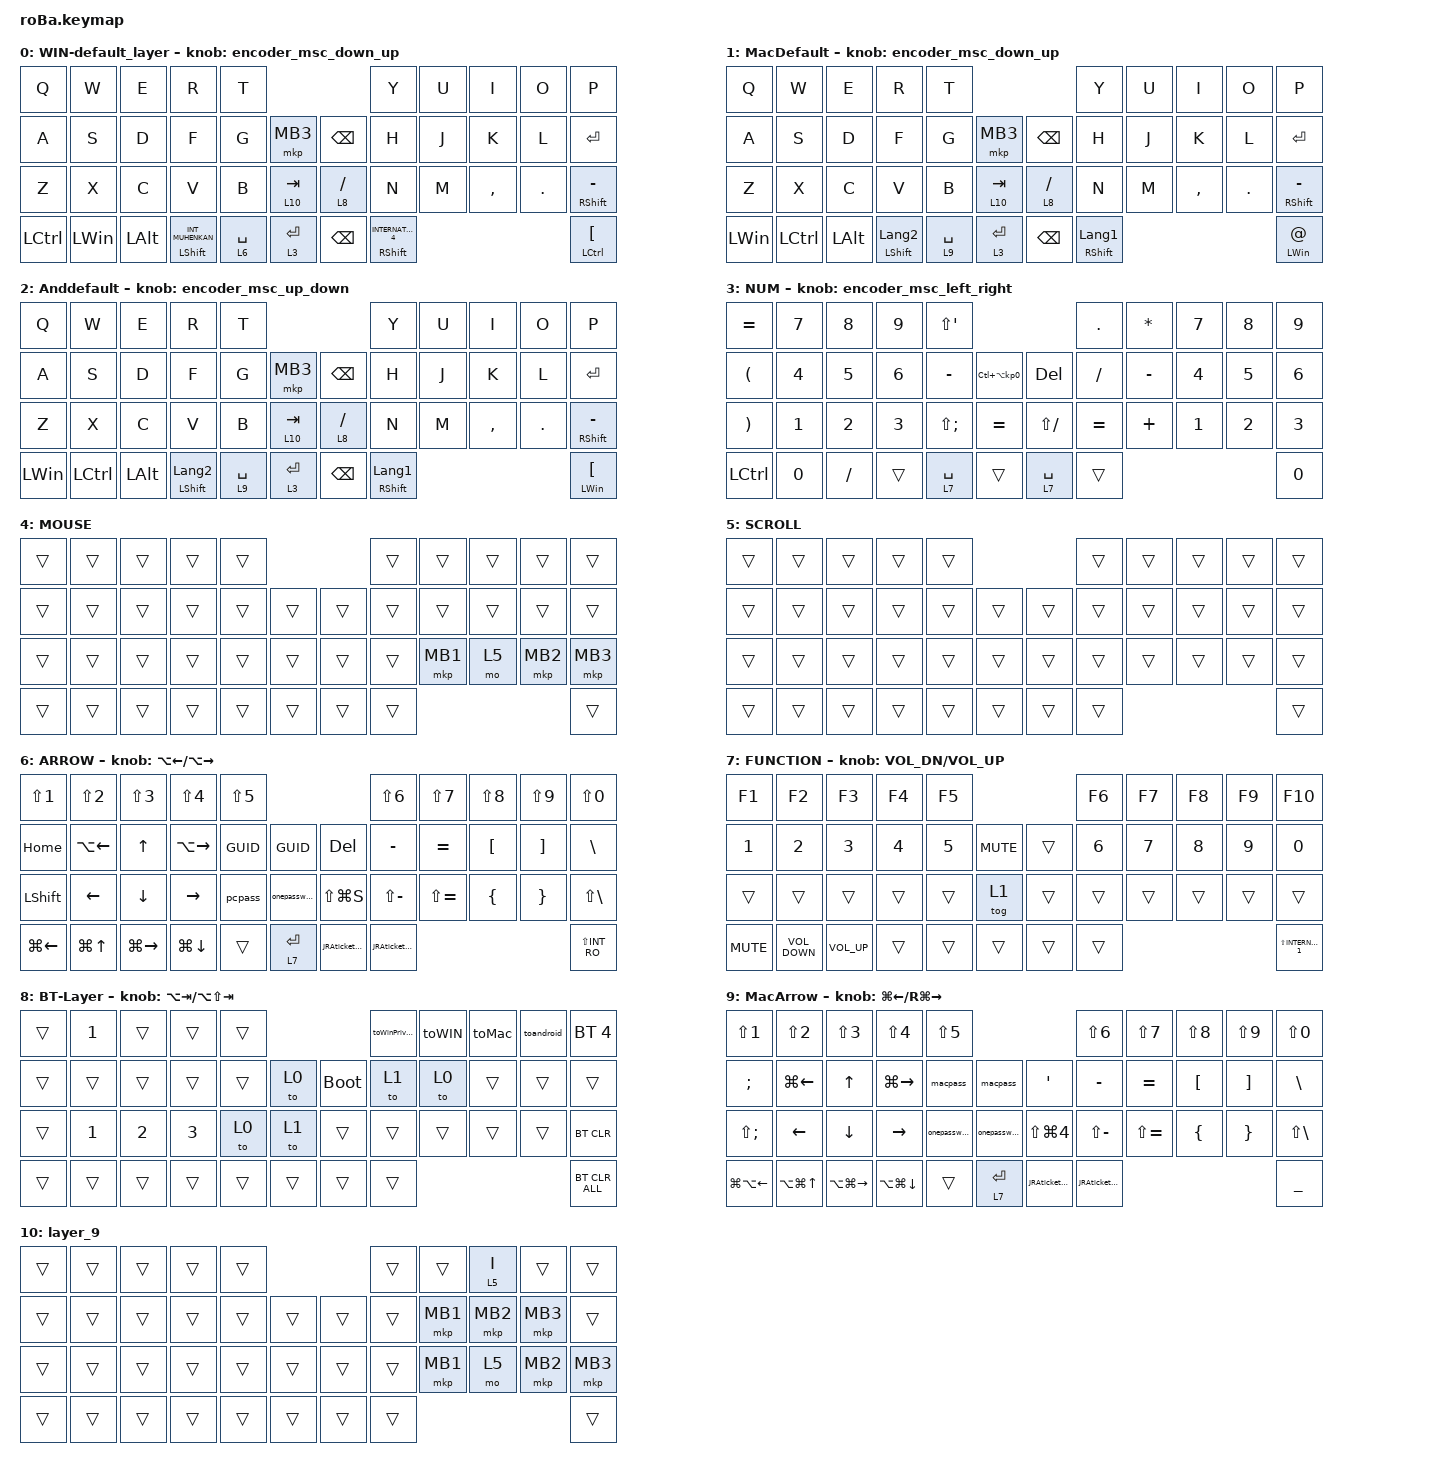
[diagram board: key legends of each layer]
#include <input/processors.dtsi>
#include <behaviors.dtsi>
#include <dt-bindings/zmk/bt.h>
#include <dt-bindings/zmk/keys.h>
#include <dt-bindings/zmk/pointing.h>

#define ZMK_POINTING_DEFAULT_SCRL_VAL 80

&trackball_listener { input-processors = <&zip_temp_layer 4 10000>; };

&mkp_input_listener { input-processors = <&zip_temp_layer 4 10000>; };

#define MOUSE 4
#define SCROLL 5
#define NUM 6

&mt {
    flavor = "balanced";
    quick-tap-ms = <0>;
};

&trackball {
    scroll-layers = <5>;

    arrows {
        layers = < 6 9>;
        bindings =
            <&kp RIGHT_ARROW>,
            <&kp LEFT_ARROW>,
            <&kp UP_ARROW>,
            <&kp DOWN_ARROW>;

        tick = <10>;
        wait-ms = <5>;
        tap-ms = <5>;
    };
};

/ {
    combos {
        compatible = "zmk,combos";

        esc {
            bindings = <&kp ESCAPE>;
            key-positions = <0 10>;
        };

        shift_tab {
            bindings = <&kp LS(TAB)>;
            key-positions = <26 27>;
        };

        double_quotation {
            bindings = <&kp SQT>;
            key-positions = <20 21>;
        };

        eq {
            bindings = <&kp EQUAL>;
            key-positions = <29 28>;
        };

        del {
            bindings = <&kp DEL>;
            key-positions = <16 17>;
        };

        tab {
            bindings = <&kp TAB>;
            key-positions = <0 1>;
        };

        backspace {
            bindings = <&kp BACKSPACE>;
            key-positions = <9 8>;
        };

        scroll {
            bindings = <&mo 5>;
            key-positions = <31 27>;
        };

        del2 {
            bindings = <&kp DELETE>;
            key-positions = <9 8 7>;
        };

        Lshift {
            bindings = <&kp LEFT_SHIFT>;
            key-positions = <22 23>;
        };

        Rshift {
            bindings = <&kp RIGHT_SHIFT>;
            key-positions = <33 32>;
        };

        kakuninnyou {
            bindings = <&trans>;
            key-positions = <34 30 31 32 33 42>;
        };

        ShiftTAB {
            bindings = <&kp LS(TAB)>;
            key-positions = <0 1 2>;
        };
    };

    macros {
        GUID: GUID {
            compatible = "zmk,behavior-macro";
            #binding-cells = <0>;
            bindings = <&kp S &kp H &kp U &kp N &kp DOT &kp S &kp DOT &kp O &kp K &kp U &kp N &kp O &kp LEFT_BRACKET &kp P &kp W &kp C &kp DOT &kp C &kp O &kp M>;
            label = "GUID";
        };

        pcpass: pcpass {
            compatible = "zmk,behavior-macro";
            #binding-cells = <0>;
            bindings = <&kp LS(I) &kp L &kp I &kp V &kp E &kp I &kp N &kp LS(J) &kp U &kp N &kp E &kp N2 &kp N4 &kp N1 &kp N9 &kp N8 &kp N7 &kp EXCL>;
            label = "PCPASS";
        };

        macpass: macpass {
            compatible = "zmk,behavior-macro";
            #binding-cells = <0>;
            bindings = <&kp A &kp L &kp T &kp E &kp R &kp N &kp A &kp T &kp I &kp V &kp E>;
            label = "MACPASS";
        };

        onepassword: onepassword {
            compatible = "zmk,behavior-macro";
            #binding-cells = <0>;
            bindings = <&kp LS(I) &kp L &kp I &kp V &kp E &kp I &kp N &kp LS(J) &kp A &kp P &kp A &kp N &kp N7 &kp EXCL>;
            label = "ONEPASSWORD";
        };

        toMac: toMacStudio {
            compatible = "zmk,behavior-macro";
            #binding-cells = <0>;
            bindings = <&bt BT_SEL 2>, <&macro_wait_time 200>, <&to 1>;

            label = "TOMACSTUDIO";
        };

        toiPad13: toiPad13 {
            compatible = "zmk,behavior-macro";
            #binding-cells = <0>;
            bindings = <&bt BT_SEL 4>, <&macro_wait_time 200>, <&to 1>;

            label = "TOIPAD13";
        };

        toiPad11: toiPad11 {
            compatible = "zmk,behavior-macro";
            #binding-cells = <0>;
            bindings = <&none>;
            label = "TOIPAD11";
        };

        toiPhone: toiPhone {
            compatible = "zmk,behavior-macro";
            #binding-cells = <0>;
            bindings = <&none>;
            label = "TOIPHONE";
        };

        JRAticketSmartsheet2: JTAticketSmartsheet {
            compatible = "zmk,behavior-macro";
            #binding-cells = <0>;
            bindings = <&kp TAB &kp LEFT_SHIFT &kp ENTER &kp TAB &kp TAB &kp ENTER>;
            label = "JTATICKETSMARTSHEET";
        };

        JRAticketSmartsheet1: JRAticketSmartsheet1 {
            compatible = "zmk,behavior-macro";
            #binding-cells = <0>;
            bindings = <&kp TAB &kp LEFT_SHIFT &kp ENTER &kp TAB &kp ENTER>;
            label = "JRATICKETSMARTSHEET1";
        };

        exit_AML: exit_AML {
            compatible = "zmk,behavior-macro";
            wait-ms = <0>;
            tap-ms = <0>;
            #binding-cells = <0>;
            bindings = <&tog_off 4>;
            label = "exit_AML";
        };

        kp_exit_AML: kp_exit_AML {
            compatible = "zmk,behavior-macro-one-param";
            wait-ms = <0>;
            tap-ms = <0>;
            #binding-cells = <1>;
            bindings = <&macro_param_1to1 &kp MACRO_PLACEHOLDER &exit_AML>;
            label = "KP_exit_AML";
        };

        ke_exit_AML_tr: ke_exit_AML_tr {
            compatible = "zmk,behavior-macro";
            wait-ms = <0>;
            tap-ms = <0>;
            #binding-cells = <0>;
            bindings = <&trans &exit_AML>;
            label = "KE_EXIT_AML_TR";
        };

        toWIN: toWIN {
            compatible = "zmk,behavior-macro";
            #binding-cells = <0>;
            bindings = <&bt BT_SEL 1>, <&macro_wait_time 200>, <&to 0>;

            label = "TOWIN";
        };

        toiPadmini: toiPadmini {
            compatible = "zmk,behavior-macro";
            #binding-cells = <0>;
            bindings = <&bt BT_SEL 3>, <&macro_wait_time 200>, <&to 1>;

            label = "TOIPADMINI";
        };

        toandroid: toandroid {
            compatible = "zmk,behavior-macro";
            #binding-cells = <0>;
            bindings = <&bt BT_SEL 3>, <&macro_wait_time 200>, <&to 2>;

            label = "TOANDROID";
        };

        toWinPrivate: toWinPrivate {
            compatible = "zmk,behavior-macro";
            #binding-cells = <0>;
            bindings = <&bt BT_SEL 0>, <&macro_wait_time 200>, <&to 0>;

            label = "TOWINPRIVATE";
        };
    };

    behaviors {
        lt_to_layer_0: lt_to_layer_0 {
            compatible = "zmk,behavior-hold-tap";
            label = "LAYER_TAP_TO_0";
            bindings = <&mo>, <&toMac>;

            #binding-cells = <2>;
            tapping-term-ms = <200>;
        };

        Mouse_Rotate_encoder: Mouse_Rotate_encoder {
            compatible = "zmk,behavior-sensor-rotate";
            label = "MOUSE_ROTATE_ENCODER";
            #sensor-binding-cells = <0>;
            bindings = <&msc SCRL_DOWN>, <&msc SCRL_UP>;
        };

        encoder_msc_down_up: encoder_msc_down_up {
            compatible = "zmk,behavior-sensor-rotate";
            label = "ENCODER_MSC_DOWN_UP";
            #sensor-binding-cells = <0>;
            bindings = <&msc SCRL_DOWN>, <&msc SCRL_UP>;

            tap-ms = <20>;
        };

        encoder_msc_up_down: encoder_msc_up_down {
            compatible = "zmk,behavior-sensor-rotate";
            label = "ENCODER_MSC_UP_DOWN";
            #sensor-binding-cells = <0>;
            bindings = <&msc SCRL_UP>, <&msc SCRL_DOWN>;

            tap-ms = <20>;
        };

        encoder_msc_left_right: encoder_msc_left_right {
            compatible = "zmk,behavior-sensor-rotate";
            label = "ENCODER_MSC_LEFT_RIGHT";
            #sensor-binding-cells = <0>;
            bindings = <&msc SCRL_LEFT>, <&msc SCRL_RIGHT>;

            tap-ms = <20>;
        };

        tog_off: toggle_layer_off {
            compatible = "zmk,behavior-toggle-layer";
            #binding-cells = <1>;
            display-name = "Toggle Layer Off";
            toggle-mode = "off";
        };

        mt_exit_AML_on_tap: mt_exit_AML_on_tap {
            compatible = "zmk,behavior-hold-tap";
            label = "MT_exit_AML_ON_TAP";
            bindings = <&kp>, <&kp_exit_AML>;

            #binding-cells = <2>;
            tapping-term-ms = <200>;
            flavor = "balanced";
            quick-tap-ms = <200>;
        };

        mt_exit_AML_on_tap_tr: mt_exit_AML_on_tap_tr {
            compatible = "zmk,behavior-hold-tap";
            label = "MT_exit_AML_ON_TAP_tr";
            bindings = <&kp>, <&ke_exit_AML_tr>;

            #binding-cells = <2>;
            tapping-term-ms = <200>;
            flavor = "balanced";
            quick-tap-ms = <200>;
        };
    };

    keymap {
        compatible = "zmk,keymap";

        WIN-default_layer {
            bindings = <
&kp Q      &kp W         &kp E         &kp R                        &kp T                                        &kp Y                            &kp U  &kp I      &kp O    &kp P
&kp A      &kp S         &kp D         &kp F                        &kp G        &mkp MB3         &kp BACKSPACE  &kp H                            &kp J  &kp K      &kp L    &kp ENTER
&kp Z      &kp X         &kp C         &kp V                        &kp B        &lt 10 TAB       &lt 8 SLASH    &kp N                            &kp M  &kp COMMA  &kp DOT  &mt RIGHT_SHIFT MINUS
&kp LCTRL  &kp LEFT_WIN  &kp LEFT_ALT  &mt LEFT_SHIFT INT_MUHENKAN  &lt 6 SPACE  &lt 3 ENTER      &kp BACKSPACE  &mt RIGHT_SHIFT INTERNATIONAL_4                             &mt LEFT_CONTROL LEFT_BRACKET
            >;

            sensor-bindings = <&encoder_msc_down_up>;
        };

        MacDefault {
            bindings = <
&kp Q         &kp W      &kp E         &kp R                      &kp T                                        &kp Y                       &kp U  &kp I      &kp O    &kp P
&kp A         &kp S      &kp D         &kp F                      &kp G        &mkp MB3         &kp BACKSPACE  &kp H                       &kp J  &kp K      &kp L    &kp ENTER
&kp Z         &kp X      &kp C         &kp V                      &kp B        &lt 10 TAB       &lt 8 SLASH    &kp N                       &kp M  &kp COMMA  &kp DOT  &mt RIGHT_SHIFT MINUS
&kp LEFT_WIN  &kp LCTRL  &kp LEFT_ALT  &mt LEFT_SHIFT LANGUAGE_2  &lt 9 SPACE  &lt 3 ENTER      &kp BACKSPACE  &mt RIGHT_SHIFT LANGUAGE_1                             &mt LEFT_WIN AT_SIGN
            >;

            sensor-bindings = <&encoder_msc_down_up>;
        };

        Anddefault {
            bindings = <
&kp Q         &kp W      &kp E         &kp R                      &kp T                                        &kp Y                       &kp U  &kp I      &kp O    &kp P
&kp A         &kp S      &kp D         &kp F                      &kp G        &mkp MB3         &kp BACKSPACE  &kp H                       &kp J  &kp K      &kp L    &kp ENTER
&kp Z         &kp X      &kp C         &kp V                      &kp B        &lt 10 TAB       &lt 8 SLASH    &kp N                       &kp M  &kp COMMA  &kp DOT  &mt RIGHT_SHIFT MINUS
&kp LEFT_WIN  &kp LCTRL  &kp LEFT_ALT  &mt LEFT_SHIFT LANGUAGE_2  &lt 9 SPACE  &lt 3 ENTER      &kp BACKSPACE  &mt RIGHT_SHIFT LANGUAGE_1                             &mt LEFT_WIN LEFT_BRACKET
            >;

            sensor-bindings = <&encoder_msc_up_down>;
        };

        NUM {
            bindings = <
&kp EQUAL              &kp NUMBER_7  &kp NUMBER_8  &kp NUMBER_9  &kp LS(SQT)                                                    &kp DOT    &kp ASTERISK  &kp NUMBER_7  &kp NUMBER_8  &kp NUMBER_9
&kp LEFT_PARENTHESIS   &kp NUMBER_4  &kp NUMBER_5  &kp NUMBER_6  &kp MINUS          &kp LC(LA(KP_NUMBER_0))      &kp DELETE     &kp SLASH  &kp MINUS     &kp NUMBER_4  &kp NUMBER_5  &kp NUMBER_6
&kp RIGHT_PARENTHESIS  &kp NUMBER_1  &kp NUMBER_2  &kp NUMBER_3  &kp LS(SEMICOLON)  &kp EQUAL                    &kp LS(SLASH)  &kp EQUAL  &kp PLUS      &kp NUMBER_1  &kp NUMBER_2  &kp NUMBER_3
&kp LCTRL              &kp N0        &kp SLASH     &trans        &lt 7 SPACE        &trans                       &lt 7 SPACE    &trans                                               &kp NUMBER_0
            >;

            sensor-bindings = <&encoder_msc_left_right>;
        };

        MOUSE {
            bindings = <
&trans  &trans  &trans  &trans  &trans                      &trans  &trans    &trans  &trans    &trans
&trans  &trans  &trans  &trans  &trans  &trans      &trans  &trans  &trans    &trans  &trans    &trans
&trans  &trans  &trans  &trans  &trans  &trans      &trans  &trans  &mkp MB1  &mo 5   &mkp MB2  &mkp MB3
&trans  &trans  &trans  &trans  &trans  &trans      &trans  &trans                              &trans
            >;
        };

        SCROLL {
            bindings = <
&trans  &trans  &trans  &trans  &trans                      &trans  &trans  &trans  &trans  &trans
&trans  &trans  &trans  &trans  &trans  &trans      &trans  &trans  &trans  &trans  &trans  &trans
&trans  &trans  &trans  &trans  &trans  &trans      &trans  &trans  &trans  &trans  &trans  &trans
&trans  &trans  &trans  &trans  &trans  &trans      &trans  &trans                          &trans
            >;
        };

        ARROW {
            bindings = <
&kp LS(NUMBER_1)    &kp LS(NUMBER_2)    &kp LS(NUMBER_3)     &kp LS(NUMBER_4)     &kp LS(N5)                                           &kp LS(NUMBER_6)       &kp LS(NUMBER_7)  &kp LS(NUMBER_8)  &kp LS(NUMBER_9)   &kp LS(NUMBER_0)
&kp HOME            &kp LA(LEFT_ARROW)  &kp UP_ARROW         &kp LA(RIGHT_ARROW)  &GUID       &GUID             &kp DELETE             &kp MINUS              &kp EQUAL         &kp LEFT_BRACKET  &kp RIGHT_BRACKET  &kp BACKSLASH
&kp LEFT_SHIFT      &kp LEFT_ARROW      &kp DOWN_ARROW       &kp RIGHT_ARROW      &pcpass     &onepassword      &kp LS(LG(S))          &kp LS(MINUS)          &kp LS(EQUAL)     &kp LEFT_BRACE    &kp RIGHT_BRACE    &kp LS(BACKSLASH)
&kp LG(LEFT_ARROW)  &kp LG(UP_ARROW)    &kp LG(RIGHT_ARROW)  &kp LG(DOWN_ARROW)   &trans      &lt 7 ENTER       &JRAticketSmartsheet1  &JRAticketSmartsheet2                                                         &kp LS(INT_RO)
            >;

            sensor-bindings = <&inc_dec_kp LA(LEFT_ARROW) LA(RIGHT_ARROW)>;
        };

        FUNCTION {
            bindings = <
&kp F1      &kp F2             &kp F3           &kp F4  &kp F5                          &kp F6  &kp F7  &kp F8  &kp F9  &kp F10
&kp N1      &kp N2             &kp N3           &kp N4  &kp N5  &kp K_MUTE      &trans  &kp N6  &kp N7  &kp N8  &kp N9  &kp N0
&trans      &trans             &trans           &trans  &trans  &tog 1          &trans  &trans  &trans  &trans  &trans  &trans
&kp K_MUTE  &kp C_VOLUME_DOWN  &kp C_VOLUME_UP  &trans  &trans  &trans          &trans  &trans                          &kp LS(INTERNATIONAL_1)
            >;

            sensor-bindings = <&inc_dec_kp C_VOL_DN C_VOLUME_UP>;
        };

        BT-Layer {
            bindings = <
&trans  &kp NUMBER_1  &trans        &trans        &trans                           &toWinPrivate  &toWIN  &toMac  &toandroid  &bt BT_SEL 4
&trans  &trans        &trans        &trans        &trans  &to 0       &bootloader  &to 1          &to 0   &trans  &trans      &trans
&trans  &kp NUMBER_1  &kp NUMBER_2  &kp NUMBER_3  &to 0   &to 1       &trans       &trans         &trans  &trans  &trans      &bt BT_CLR
&trans  &trans        &trans        &trans        &trans  &trans      &trans       &trans                                     &bt BT_CLR_ALL
            >;

            sensor-bindings = <&inc_dec_kp LA(TAB) LA(LS(TAB))>;
        };

        MacArrow {
            bindings = <
&kp LS(NUMBER_1)        &kp LS(NUMBER_2)      &kp LS(NUMBER_3)         &kp LS(NUMBER_4)        &kp LS(N5)                                             &kp LS(NUMBER_6)       &kp LS(NUMBER_7)  &kp LS(NUMBER_8)  &kp LS(NUMBER_9)   &kp LS(NUMBER_0)
&kp SEMICOLON           &kp LG(LEFT_ARROW)    &kp UP_ARROW             &kp LG(RIGHT_ARROW)     &macpass      &macpass          &kp SQT                &kp MINUS              &kp EQUAL         &kp LEFT_BRACKET  &kp RIGHT_BRACKET  &kp BACKSLASH
&kp LS(SEMI)            &kp LEFT_ARROW        &kp DOWN_ARROW           &kp RIGHT_ARROW         &onepassword  &onepassword      &kp LS(LG(NUMBER_4))   &kp LS(MINUS)          &kp LS(EQUAL)     &kp LEFT_BRACE    &kp RIGHT_BRACE    &kp LS(BACKSLASH)
&kp LG(LA(LEFT_ARROW))  &kp LA(LG(UP_ARROW))  &kp LA(LG(RIGHT_ARROW))  &kp LA(LG(DOWN_ARROW))  &trans        &lt 7 ENTER       &JRAticketSmartsheet1  &JRAticketSmartsheet2                                                         &kp UNDERSCORE
            >;

            sensor-bindings = <&inc_dec_kp LG(LEFT_ARROW) RG(RIGHT_ARROW)>;
        };

        layer_9 {
            bindings = <
&trans  &trans  &trans  &trans  &trans                      &trans  &trans    &lt 5 I   &trans    &trans
&trans  &trans  &trans  &trans  &trans  &trans      &trans  &trans  &mkp MB1  &mkp MB2  &mkp MB3  &trans
&trans  &trans  &trans  &trans  &trans  &trans      &trans  &trans  &mkp MB1  &mo 5     &mkp MB2  &mkp MB3
&trans  &trans  &trans  &trans  &trans  &trans      &trans  &trans                                &trans
            >;
        };
    };
};
